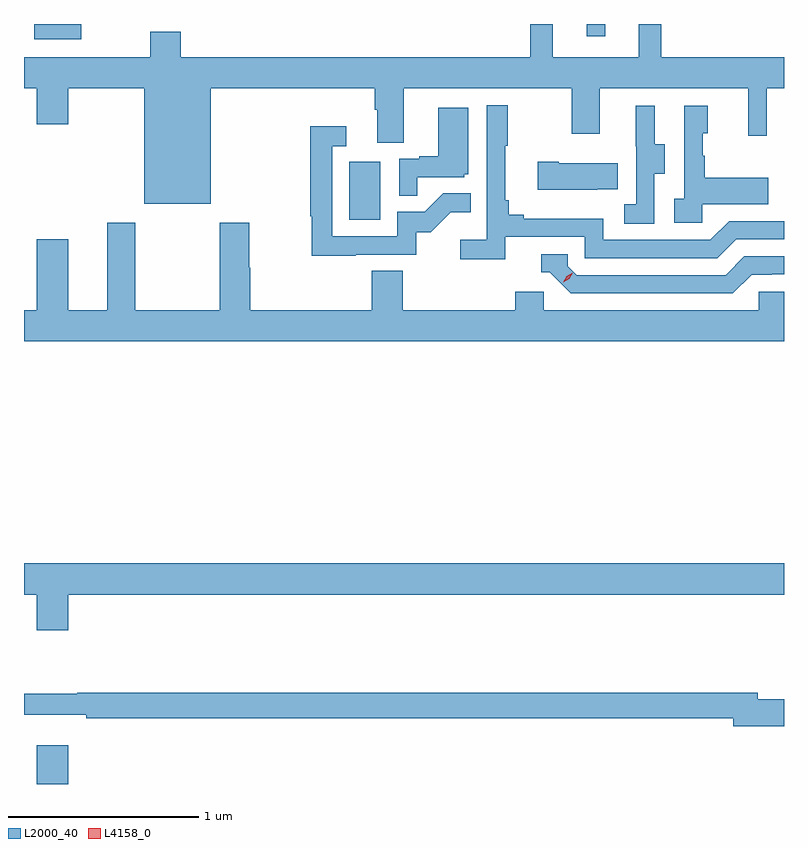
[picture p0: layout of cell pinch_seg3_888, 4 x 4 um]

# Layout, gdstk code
import gdstk
lib = gdstk.Library(unit=1e-6, precision=1e-09)
def R(c, l, rs):  # rectangles x0, y0, x1, y1
    for r in rs: c.add(gdstk.rectangle(r[:2], r[2:], *l))
def P(c, l, *ps):  # polygons
    for p in ps: c.add(gdstk.Polygon(p, *l))
L2000_40 = (2000, 40)
L4158_0 = (4158, 0)

pinch_seg3_888 = lib.new_cell('pinch_seg3_888')
R(pinch_seg3_888, L2000_40, [(884.288,693.259,884.452,693.463), (885.932,696.228,886.096,696.535), (884.275,697.179,884.521,697.259), (887.181,697.194,887.278,697.259)])
P(pinch_seg3_888, L2000_40, [(885.202,696.92),(886.067,696.92),(886.067,696.808),(886.079,696.808),(886.079,696.634),(886.219,696.634),(886.219,696.92),(887.104,696.92),(887.104,696.681),(887.251,696.681),(887.251,696.92),(888.032,696.92),(888.032,696.672),(888.129,696.672),(888.129,696.92),(888.22,696.92),(888.22,697.084),(887.573,697.084),(887.573,697.259),(887.456,697.259),(887.456,697.084),(887.003,697.084),(887.003,697.259),(886.885,697.259),(886.885,697.084),(885.044,697.084),(885.044,697.219),(884.884,697.219),(884.884,697.084),(884.22,697.084),(884.22,696.92),(884.288,696.92),(884.288,696.732),(884.452,696.732),(884.452,696.92),(884.852,696.92),(884.852,696.314),(885.202,696.314)],
  [(886.754,696.138),(887.172,696.138),(887.172,696.027),(887.869,696.027),(887.968,696.126),(888.22,696.126),(888.22,696.222),(887.931,696.222),(887.832,696.123),(887.268,696.123),(887.268,696.235),(886.849,696.235),(886.849,696.254),(886.772,696.254),(886.772,696.331),(886.753,696.331),(886.753,696.619),(886.765,696.619),(886.765,696.832),(886.656,696.832),(886.656,696.124),(886.515,696.124),(886.515,696.022),(886.754,696.022)],
  [(887.79,696.311),(888.137,696.311),(888.137,696.451),(887.803,696.451),(887.803,696.566),(887.793,696.566),(887.793,696.684),(887.818,696.684),(887.818,696.829),(887.694,696.829),(887.694,696.338),(887.643,696.338),(887.643,696.213),(887.79,696.213)],
  [(887.538,696.472),(887.593,696.472),(887.593,696.627),(887.539,696.627),(887.539,696.829),(887.441,696.829),(887.441,696.615),(887.442,696.615),(887.442,696.311),(887.379,696.311),(887.379,696.208),(887.538,696.208)],
  [(886.289,696.453),(886.536,696.453),(886.536,696.468),(886.558,696.468),(886.558,696.817),(886.4,696.817),(886.4,696.562),(886.301,696.562),(886.301,696.549),(886.194,696.549),(886.194,696.355),(886.289,696.355)],
  [(885.965,696.045),(886.284,696.045),(886.284,696.162),(886.36,696.162),(886.467,696.269),(886.571,696.269),(886.571,696.368),(886.427,696.368),(886.329,696.27),(886.185,696.27),(886.185,696.141),(885.843,696.141),(885.843,696.615),(885.916,696.615),(885.916,696.721),(885.727,696.721),(885.727,696.248),(885.735,696.248),(885.735,696.04),(885.965,696.04)],
  [(887.237,696.389),(887.345,696.389),(887.345,696.526),(887.035,696.526),(887.035,696.534),(886.923,696.534),(886.923,696.386),(887.237,696.386)],
  [(888.22,695.85),(888.087,695.85),(888.087,695.752),(886.956,695.752),(886.956,695.85),(886.805,695.85),(886.805,695.752),(886.214,695.752),(886.214,695.96),(886.049,695.96),(886.049,695.752),(885.41,695.752),(885.41,695.975),(885.405,695.975),(885.405,696.214),(885.25,696.214),(885.25,695.752),(884.805,695.752),(884.805,696.214),(884.657,696.214),(884.657,695.752),(884.452,695.752),(884.452,696.127),(884.288,696.127),(884.288,695.752),(884.22,695.752),(884.22,695.588),(888.22,695.588)],
  [(888.049,695.94),(888.156,695.94),(888.156,695.943),(888.22,695.943),(888.22,696.036),(888.012,696.036),(887.913,695.937),(887.13,695.937),(887.082,695.985),(887.082,696.048),(886.943,696.048),(886.943,695.952),(886.986,695.952),(887.097,695.841),(887.95,695.841)],
  [(884.452,694.256),(888.22,694.256),(888.22,694.42),(884.22,694.42),(884.22,694.256),(884.288,694.256),(884.288,694.068),(884.452,694.068)],
  [(888.22,693.704),(888.082,693.704),(888.082,693.74),(884.5,693.74),(884.5,693.733),(884.22,693.733),(884.22,693.623),(884.548,693.623),(884.548,693.604),(887.954,693.604),(887.954,693.562),(888.22,693.562)])
P(pinch_seg3_888, L4158_0, [(887.059,695.899),(887.059,695.899),(887.076,695.931),(887.107,695.95),(887.107,695.95),(887.107,695.949),(887.09,695.917),(887.059,695.899)])

lib.write_gds('pinch_seg3_888.gds')
